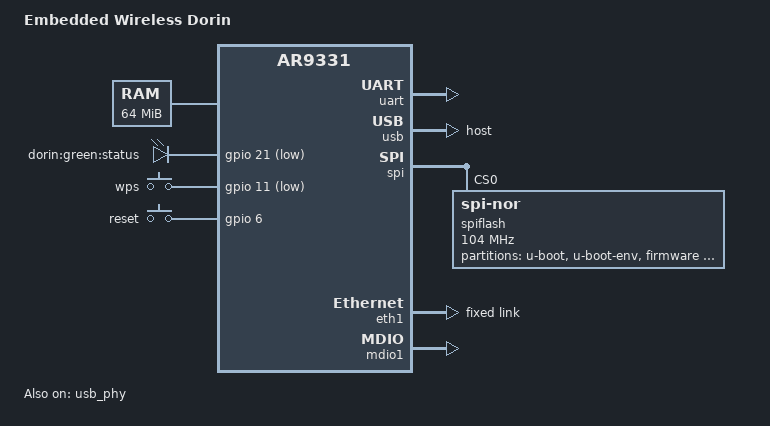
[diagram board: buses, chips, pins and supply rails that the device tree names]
// SPDX-License-Identifier: GPL-2.0-or-later OR MIT
/dts-v1/;

#include <dt-bindings/gpio/gpio.h>
#include <dt-bindings/input/input.h>

#include "ar9331.dtsi"

/ {
	model = "Embedded Wireless Dorin";
	compatible = "embeddedwireless,dorin";

	aliases {
		serial0 = &uart;
	};

	memory@0 {
		device_type = "memory";
		reg = <0x0 0x4000000>;
	};

	leds {
		compatible = "gpio-leds";

		status {
			label = "dorin:green:status";
			gpios = <&gpio 21 GPIO_ACTIVE_LOW>;
			default-state = "off";
		};
	};

	keys {
		compatible = "gpio-keys-polled";
		#address-cells = <1>;
		#size-cells = <0>;
		poll-interval = <100>;

		wps {
			label = "wps";
			linux,code = <KEY_WPS_BUTTON>;
			gpios = <&gpio 11 GPIO_ACTIVE_LOW>;
		};

		reset {
			label = "reset";
			linux,code = <KEY_RESTART>;
			gpios = <&gpio 6 GPIO_ACTIVE_HIGH>;
		};
	};
};

&uart {
	status = "okay";
};

&gpio {
	status = "okay";
};

&usb {
	dr_mode = "host";
	status = "okay";
};

&usb_phy {
	status = "okay";
};

&spi {
	num-chipselects = <1>;
	status = "okay";

	spiflash {
		#address-cells = <1>;
		#size-cells = <1>;
		compatible = "jedec,spi-nor";
		spi-max-frequency = <104000000>;
		reg = <0>;

		partitions {
			compatible = "fixed-partitions";
			#address-cells = <1>;
			#size-cells = <1>;

			partition@0 {
				label = "u-boot";
				reg = <0x000000 0x040000>;
				read-only;
			};

			partition@1 {
				label = "u-boot-env";
				reg = <0x040000 0x010000>;
			};

			partition@2 {
				label = "firmware";
				reg = <0x050000 0xfa0000>;
			};

			art: partition@3 {
				label = "ART";
				reg = <0xff0000 0x010000>;
				read-only;
			};
		};
	};
};

&eth1 {
	status = "okay";

	mtd-mac-address = <&art 0x1002>;

	fixed-link {
		speed = <1000>;
		full-duplex;
	};

	gmac-config {
		device = <&gmac>;

		switch-phy-addr-swap = <1>;
		switch-phy-swap = <1>;
	};
};

&mdio1 {
	status = "okay";
};
